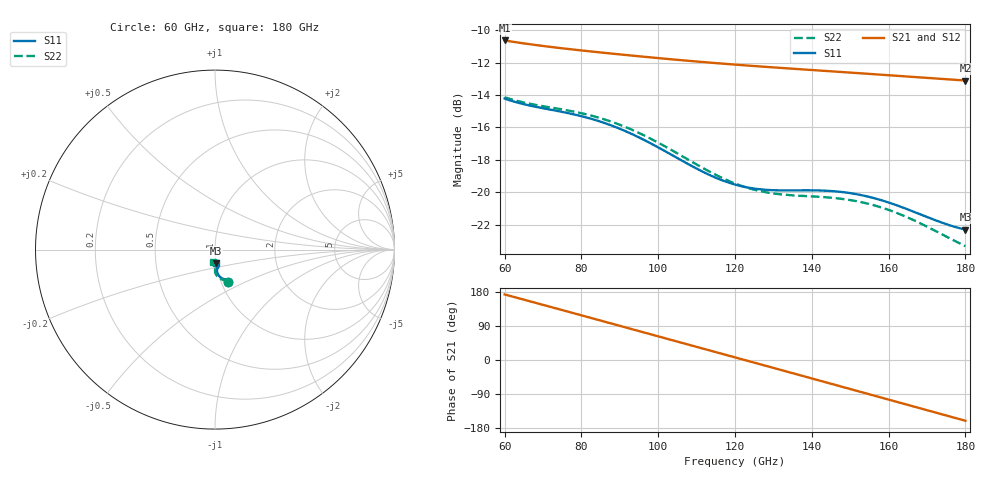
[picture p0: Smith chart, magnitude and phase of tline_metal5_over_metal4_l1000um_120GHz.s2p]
#  GHZ S DB R 50
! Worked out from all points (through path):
!   101 points, 60 GHz to 180 GHz, reference 50 ohm
!   highest |S21| = -10.63 dB at 60 GHz (marker M1); lowest = -13.1 dB at 180 GHz (marker M2)
!   group delay of S21, straight-line fit = 7.72 ps
!   lowest |S11| = -22.3 dB at 180 GHz (marker M3), VSWR 1.17, Z = 50 - j7.7 ohm
!   |S11| at or under -10 dB: start of sweep to end of sweep
!   |S22| runs from -23.3 to -14.1 dB; largest |S21 - S12| = 2.9e-13
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60  -14.22 -67.6  -10.63 173.0  -10.63 173.0  -14.13 -68.4
64.8  -14.55 -67.9  -10.81 159.8  -10.81 159.8  -14.45 -68.9
69.6  -14.79 -68.9  -10.96 146.6  -10.96 146.6  -14.67 -70.0
75.6  -15.07 -71.1  -11.13 130.1  -11.13 130.1  -14.91 -72.4
80.4  -15.33 -73.4  -11.26 116.8  -11.26 116.8  -15.14 -75.0
85.2  -15.66 -76.1  -11.38 103.5  -11.38 103.5  -15.44 -78.0
90  -16.08 -78.8  -11.49 90.2  -11.49 90.2  -15.83 -81.1
94.8  -16.59 -81.3  -11.60 76.8  -11.60 76.8  -16.32 -84.0
100.8  -17.33 -83.6  -11.74 60.2  -11.74 60.2  -17.04 -87.2
110.4  -18.58 -84.7  -11.94 33.6  -11.94 33.6  -18.33 -89.8
115.2  -19.12 -83.9  -12.03 20.2  -12.03 20.2  -18.94 -89.9
120  -19.52 -82.5  -12.12 6.9  -12.12 6.9  -19.45 -89.2
124.8  -19.76 -81.1  -12.21 -6.4  -12.21 -6.4  -19.83 -88.2
129.6  -19.87 -80.0  -12.29 -19.7  -12.29 -19.7  -20.06 -87.2
134.4  -19.88 -79.7  -12.37 -33.1  -12.37 -33.1  -20.18 -86.8
140.4  -19.88 -80.4  -12.46 -49.8  -12.46 -49.8  -20.26 -87.4
146.4  -19.95 -82.1  -12.56 -66.5  -12.56 -66.5  -20.36 -89.0
151.2  -20.10 -83.8  -12.63 -79.9  -12.63 -79.9  -20.53 -90.9
160.8  -20.69 -87.0  -12.79 -106.7  -12.79 -106.7  -21.15 -95.0
165.6  -21.11 -87.9  -12.87 -120.1  -12.87 -120.1  -21.62 -96.7
171.6  -21.67 -87.8  -12.97 -136.9  -12.97 -136.9  -22.31 -97.9
180  -22.30 -85.4  -13.10 -160.3  -13.10 -160.3  -23.32 -97.2
